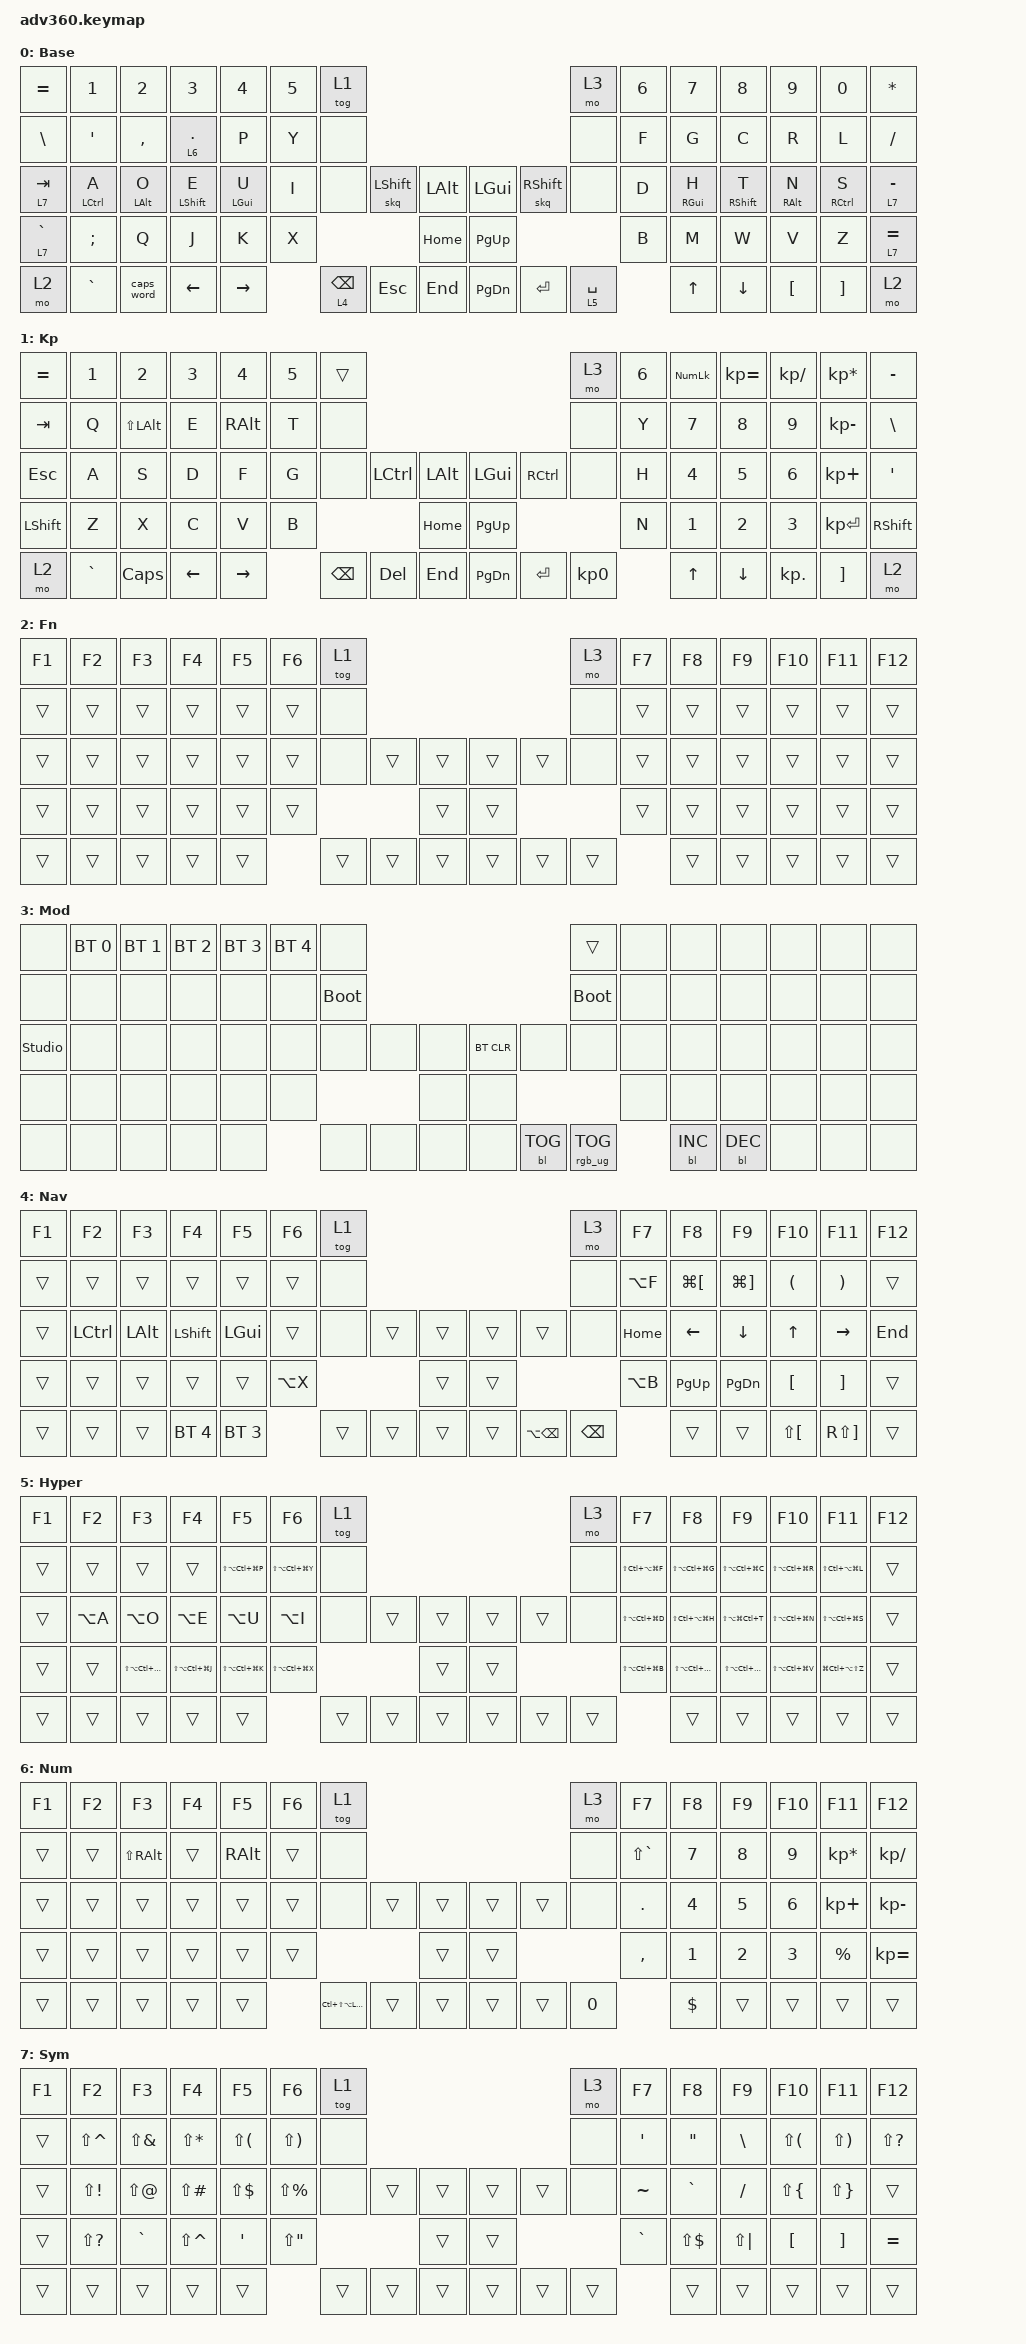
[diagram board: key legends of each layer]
#include <dt-bindings/zmk/stp.h>
#include <behaviors.dtsi>
#include <dt-bindings/zmk/backlight.h>
#include <dt-bindings/zmk/bt.h>
#include <dt-bindings/zmk/keys.h>
#include <dt-bindings/zmk/rgb.h>

/ {
    behaviors {
        #include "macros.dtsi"
      #include "version.dtsi"

        hm: homerow_mods {
            compatible = "zmk,behavior-hold-tap";
            label = "HOMEROW_MODS";
            bindings = <&kp>, <&kp>;

            #binding-cells = <2>;
            tapping-term-ms = <200>;
            flavor = "tap-preferred";
        };

        skq: sticky_key_quick_release {
            compatible = "zmk,behavior-sticky-key";
            label = "SKQ";
            bindings = <&kp>;
            #binding-cells = <1>;
            quick-release;
            release-after-ms = <1000>;
            ignore-modifiers;
        };
    };

    keymap {
        compatible = "zmk,keymap";

        default_layer {
            display-name = "Base";
            bindings = <
&kp EQUAL    &kp N1         &kp N2      &kp N3        &kp N4      &kp N5  &tog 1                                                         &mo 3        &kp N6  &kp N7      &kp N8       &kp N9      &kp N0       &kp ASTRK
&kp BSLH     &kp SQT        &kp COMMA   &lt 6 PERIOD  &kp P       &kp Y   &none                                                          &none        &kp F   &kp G       &kp C        &kp R       &kp L        &kp FSLH
&lt 7 TAB    &hm LCTRL A    &hm LALT O  &hm LSHFT E   &hm LGUI U  &kp I   &none       &skq LSHIFT  &kp LALT      &kp LGUI   &skq RSHIFT  &none        &kp D   &hm RGUI H  &hm RSHFT T  &hm RALT N  &hm RCTRL S  &lt 7 MINUS
&lt 7 GRAVE  &kp SEMICOLON  &kp Q       &kp J         &kp K       &kp X                            &kp HOME      &kp PG_UP                            &kp B   &kp M       &kp W        &kp V       &kp Z        &lt 7 EQUAL
&mo 2        &kp GRAVE      &caps_word  &kp LEFT      &kp RIGHT           &lt 4 BSPC  &kp ESC      &kp END       &kp PG_DN  &kp ENTER    &lt 5 SPACE          &kp UP      &kp DOWN     &kp LBKT    &kp RBKT     &mo 2
            >;
        };

        keypad {
            display-name = "Kp";
            bindings = <
&kp EQUAL  &kp N1     &kp N2        &kp N3    &kp N4     &kp N5  &trans                                                   &mo 3      &kp N6  &kp KP_NUM  &kp KP_EQUAL  &kp KP_DIVIDE  &kp KP_MULTIPLY  &kp MINUS
&kp TAB    &kp Q      &kp LS(LALT)  &kp E     &kp RALT   &kp T   &none                                                    &none      &kp Y   &kp    N7   &kp N8        &kp N9         &kp KP_MINUS     &kp BSLH
&kp ESC    &kp A      &kp S         &kp D     &kp F      &kp G   &none     &kp LCTRL  &kp LALT      &kp LGUI   &kp RCTRL  &none      &kp H   &kp    N4   &kp N5        &kp N6         &kp KP_PLUS      &kp SQT
&kp LSHFT  &kp Z      &kp X         &kp C     &kp V      &kp B                        &kp HOME      &kp PG_UP                        &kp N   &kp    N1   &kp N2        &kp N3         &kp KP_ENTER     &kp RSHFT
&mo 2      &kp GRAVE  &kp CAPS      &kp LEFT  &kp RIGHT          &kp BSPC  &kp DEL    &kp END       &kp PG_DN  &kp ENTER  &kp KP_N0          &kp UP      &kp DOWN      &kp KP_DOT     &kp RBKT         &mo 2
            >;
        };

        fn {
            display-name = "Fn";
            bindings = <
&kp F1  &kp F2  &kp F3  &kp F4  &kp F5  &kp F6  &tog 1                                      &mo 3   &kp F7  &kp F8  &kp F9  &kp F10  &kp F11  &kp F12
&trans  &trans  &trans  &trans  &trans  &trans  &none                                       &none   &trans  &trans  &trans  &trans   &trans   &trans
&trans  &trans  &trans  &trans  &trans  &trans  &none   &trans  &trans      &trans  &trans  &none   &trans  &trans  &trans  &trans   &trans   &trans
&trans  &trans  &trans  &trans  &trans  &trans                  &trans      &trans                  &trans  &trans  &trans  &trans   &trans   &trans
&trans  &trans  &trans  &trans  &trans          &trans  &trans  &trans      &trans  &trans  &trans          &trans  &trans  &trans   &trans   &trans
            >;
        };

        mod {
            display-name = "Mod";
            bindings = <
&none           &bt BT_SEL 0  &bt BT_SEL 1  &bt BT_SEL 2  &bt BT_SEL 3  &bt BT_SEL 4  &none                                                  &trans           &none  &none       &none       &none  &none  &none
&none           &none         &none         &none         &none         &none         &bootloader                                            &bootloader      &none  &none       &none       &none  &none  &none
&studio_unlock  &none         &none         &none         &none         &none         &none        &none  &none      &bt BT_CLR  &none       &none            &none  &none       &none       &none  &none  &none
&none           &none         &none         &none         &none         &none                             &none      &none                                    &none  &none       &none       &none  &none  &none
&none           &none         &none         &none         &none                       &none        &none  &none      &none       &bl BL_TOG  &rgb_ug RGB_TOG         &bl BL_INC  &bl BL_DEC  &none  &none  &none
            >;
        };

        nav {
            display-name = "Nav";
            bindings = <
&kp F1  &kp F2     &kp F3    &kp F4        &kp F5        &kp F6     &tog 1                                            &mo 3     &kp F7     &kp F8        &kp F9         &kp F10       &kp F11       &kp F12
&trans  &trans     &trans    &trans        &trans        &trans     &none                                             &none     &kp LA(F)  &kp LG(LBKT)  &kp LG(RBKT)   &kp LPAR      &kp RPAR      &trans
&trans  &kp LCTRL  &kp LALT  &kp LSHFT     &kp LGUI      &trans     &none   &trans  &trans      &trans  &trans        &none     &kp HOME   &kp LEFT      &kp DOWN       &kp UP        &kp RIGHT     &kp END
&trans  &trans     &trans    &trans        &trans        &kp LA(X)                  &trans      &trans                          &kp LA(B)  &kp PAGE_UP   &kp PAGE_DOWN  &kp LBKT      &kp RBKT      &trans
&trans  &trans     &trans    &bt BT_SEL 4  &bt BT_SEL 3             &trans  &trans  &trans      &trans  &kp LA(BSPC)  &kp BSPC             &trans        &trans         &kp LS(LBKT)  &kp RS(RBKT)  &trans
            >;
        };

        hyp {
            display-name = "Hyper";
            bindings = <
&kp F1  &kp F2     &kp F3                 &kp F4                 &kp F5                 &kp F6                 &tog 1                                      &mo 3   &kp F7                 &kp F8                 &kp F9                 &kp F10                &kp F11                &kp F12
&trans  &trans     &trans                 &trans                 &kp LS(LA(LC(LG(P))))  &kp LS(LA(LC(LG(Y))))  &none                                       &none   &kp LS(LC(LA(LG(F))))  &kp LS(LA(LC(LG(G))))  &kp LS(LA(LC(LG(C))))  &kp LS(LA(LC(LG(R))))  &kp LS(LC(LA(LG(L))))  &trans
&trans  &kp LA(A)  &kp LA(O)              &kp LA(E)              &kp LA(U)              &kp LA(I)              &none   &trans  &trans      &trans  &trans  &none   &kp LS(LA(LC(LG(D))))  &kp LS(LC(LA(LG(H))))  &kp LS(LA(LG(LC(T))))  &kp LS(LA(LC(LG(N))))  &kp LS(LA(LC(LG(S))))  &trans
&trans  &trans     &kp LS(LA(LC(LG(Q))))  &kp LS(LA(LC(LG(J))))  &kp LS(LA(LC(LG(K))))  &kp LS(LA(LC(LG(X))))                  &trans      &trans                  &kp LS(LA(LC(LG(B))))  &kp LS(LA(LC(LG(M))))  &kp LS(LA(LC(LG(W))))  &kp LS(LA(LC(LG(V))))  &kp LG(LC(LA(LS(Z))))  &trans
&trans  &trans     &trans                 &trans                 &trans                                        &trans  &trans  &trans      &trans  &trans  &trans                         &trans                 &trans                 &trans                 &trans                 &trans
            >;
        };

        num {
            display-name = "Num";
            bindings = <
&kp F1  &kp F2  &kp F3       &kp F4  &kp F5   &kp F6 &tog 1                                               &mo 3      &kp F7         &kp F8      &kp F9  &kp F10 &kp F11         &kp F12
&trans  &trans  &kp LS(RALT) &trans  &kp RALT &trans &none                                                &none      &kp LS(GRAVE)  &kp N7      &kp N8  &kp N9  &kp KP_MULTIPLY &kp KP_DIVIDE
&trans  &trans  &trans       &trans  &trans   &trans &none                &trans  &trans  &trans  &trans  &none      &kp PERIOD     &kp N4      &kp N5  &kp N6  &kp KP_PLUS     &kp KP_MINUS
&trans  &trans  &trans       &trans  &trans   &trans                              &trans  &trans                     &kp COMMA      &kp N1      &kp N2  &kp N3  &kp PERCENT     &kp KP_EQUAL
&trans  &trans  &trans       &trans  &trans          &kp LC(LS(LA(LGUI))) &trans  &trans  &trans  &trans  &kp N0                    &kp DOLLAR  &trans  &trans  &trans          &trans
            >;
        };

        sym {
            display-name = "Sym";
            bindings = <
&kp F1  &kp F2         &kp F3        &kp F4         &kp F5        &kp F6         &tog 1                                      &mo 3   &kp F7     &kp F8             &kp F9        &kp F10       &kp F11       &kp F12
&trans  &kp LS(CARET)  &kp LS(AMPS)  &kp LS(STAR)   &kp LS(LPAR)  &kp LS(RPAR)   &none                                       &none   &kp SQT    &kp DOUBLE_QUOTES  &kp BSLH      &kp LS(LPAR)  &kp LS(RPAR)  &kp LS(QMARK)
&trans  &kp LS(EXCL)   &kp LS(AT)    &kp LS(POUND)  &kp LS(DLLR)  &kp LS(PRCNT)  &none   &trans  &trans      &trans  &trans  &none   &kp TILDE  &kp GRAVE          &kp FSLH      &kp LS(LBRC)  &kp LS(RBRC)  &trans
&trans  &kp LS(QMARK)  &kp GRAVE     &kp LS(CARET)  &kp SQT       &kp LS(DQT)                    &trans      &trans                  &kp GRAVE  &kp LS(DLLR)       &kp LS(PIPE)  &kp LBKT      &kp RBKT      &kp EQUAL
&trans  &trans         &trans        &trans         &trans                       &trans  &trans  &trans      &trans  &trans  &trans             &trans             &trans        &trans        &trans        &trans
            >;
        };

        extra1 {
            display-name = "Red";
            status = "reserved";
        };

        extra2 {
            display-name = "Purple";
            status = "reserved";
        };

        extra3 {
            display-name = "Cyan";
            status = "reserved";
        };

        extra4 {
            display-name = "Yellow";
            status = "reserved";
        };
    };
};
